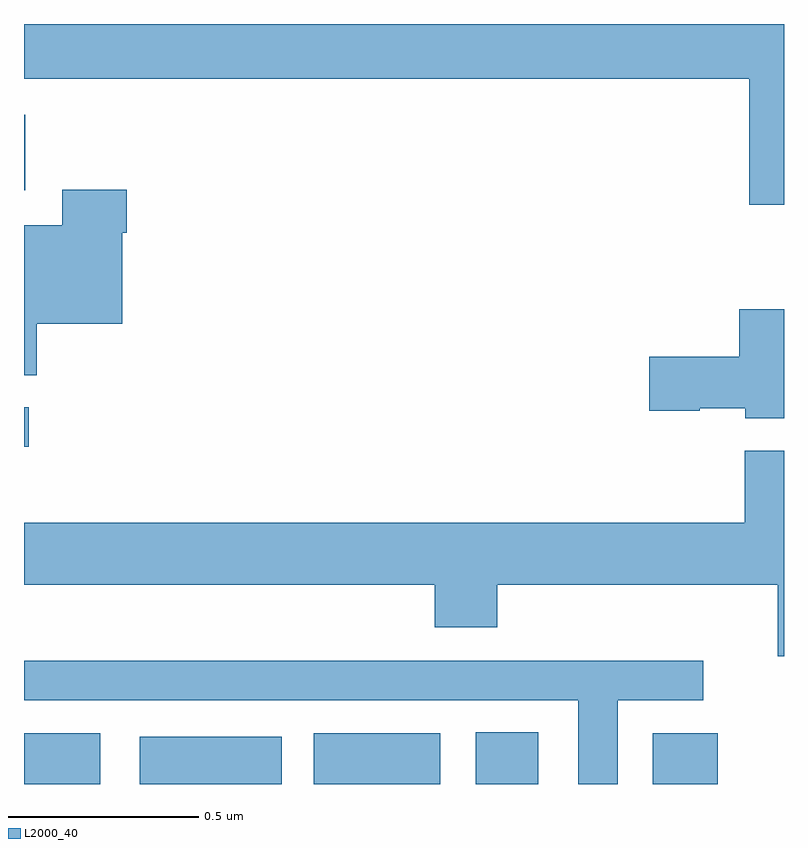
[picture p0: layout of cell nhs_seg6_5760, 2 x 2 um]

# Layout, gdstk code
import gdstk
lib = gdstk.Library(unit=1e-6, precision=1e-09)
def R(c, l, rs):  # rectangles x0, y0, x1, y1
    for r in rs: c.add(gdstk.rectangle(r[:2], r[2:], *l))
def P(c, l, *ps):  # polygons
    for p in ps: c.add(gdstk.Polygon(p, *l))
L2000_40 = (2000, 40)

nhs_seg6_5760 = lib.new_cell('nhs_seg6_5760')
R(nhs_seg6_5760, L2000_40, [(187,925.5,187.201,925.633), (187.305,925.5,187.678,925.624), (187.763,925.5,188.095,925.633), (188.189,925.5,188.353,925.636), (188.654,925.5,188.825,925.633), (187,926.387,187.012,926.491), (187,927.062,187.003,927.261)])
P(nhs_seg6_5760, L2000_40, [(189,927.5),(187,927.5),(187,927.356),(188.908,927.356),(188.908,927.024),(189,927.024)],
  [(187.034,926.711),(187.258,926.711),(187.258,926.951),(187.271,926.951),(187.271,927.064),(187.1,927.064),(187.1,926.971),(187,926.971),(187,926.576),(187.034,926.576)],
  [(189,926.749),(188.882,926.749),(188.882,926.624),(188.646,926.624),(188.646,926.482),(188.778,926.482),(188.778,926.489),(188.898,926.489),(188.898,926.462),(189,926.462)],
  [(189,926.377),(188.897,926.377),(188.897,926.188),(187,926.188),(187,926.024),(188.081,926.024),(188.081,925.913),(188.246,925.913),(188.246,926.024),(188.984,926.024),(188.984,925.836),(189,925.836)],
  [(188.563,925.721),(188.788,925.721),(188.788,925.825),(187,925.825),(187,925.721),(188.459,925.721),(188.459,925.5),(188.563,925.5)])

lib.write_gds('nhs_seg6_5760.gds')
